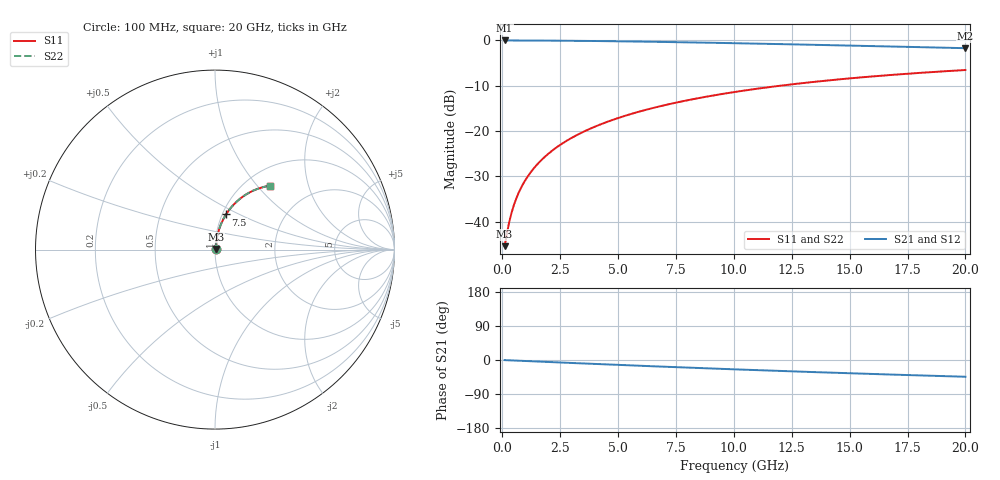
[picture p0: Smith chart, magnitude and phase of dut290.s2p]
! Touchstone file exported from HFSS 2024.1.0
!  File:  C:/UserFiles/LocalFiles/RDL_TSV_Batchsim/temp_RDL_top_290_1778690434.aedt
!  Generated:  12:42:32 AM May 14, 2026
!  Design:  RDL_top
!  Project:  temp_RDL_top_290_1778690434
!  Setup:  Setup1
!  Solution:  Sweep
! Variables:
!  dtsv = 10.80580581um
!  hbump = 3um
!  htsv = 55.9um
!  ldown = 100um
!  lrdl = 605.36um
!  p = 40
!  p1 = 44.33um
!  rhole = 1um
!  t = 450um
!  tdown = 3.915915916um
!  trdl = 3.95um
!  wdown = 15.38538539um
!  wrdl = 12.21um
# GHz S MA R 50.000000
! Terminal data exported
! Port[1] = Box2_T1
! Port[2] = Box2_T2
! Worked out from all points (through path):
!   200 points, 100 MHz to 20 GHz, reference 50 ohm
!   highest |S21| = -0.04 dB at 100 MHz (marker M1); lowest = -1.7 dB at 20 GHz (marker M2)
!   group delay of S21, straight-line fit = 6.13 ps
!   lowest |S11| = -45.4 dB at 100 MHz (marker M3), VSWR 1.01, Z = 50.5 + j0.295 ohm
!   |S11| at or under -10 dB: start of sweep to 12.04 GHz
!   |S22| runs from -45.4 to -6.6 dB; largest |S21 - S12| = 3.4e-15
!   S11 on the Smith chart (normalised r, x): 100 MHz: 1.01, +0.01; 7.5 GHz: 1.04, +0.43; 20 GHz: 1.28, +1.17
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0.1  0.005365 33.0  0.9955 -0.3  0.9955 -0.3  0.005365 33.0
! Gamma 0 0 0 0
! Port Impedance 50 0 50 0
0.2  0.007421 51.7  0.9954 -0.5  0.9954 -0.5  0.007421 51.7
0.3  0.0099 61.4  0.9953 -0.8  0.9953 -0.8  0.0099 61.4
0.4  0.01252 66.9  0.9951 -1.1  0.9951 -1.1  0.01252 66.9
0.5  0.0152 70.4  0.995 -1.3  0.995 -1.3  0.0152 70.4
0.6  0.0179 72.8  0.9948 -1.6  0.9948 -1.6  0.0179 72.8
0.8  0.02334 75.9  0.9944 -2.1  0.9944 -2.1  0.02334 75.9
1.1  0.03155 78.3  0.9938 -2.9  0.9938 -2.9  0.03156 78.3
1.5  0.04257 79.8  0.9929 -4.0  0.9929 -4.0  0.04257 79.8
1.8  0.05086 80.3  0.992 -4.7  0.992 -4.7  0.05086 80.3
2.1  0.05916 80.5  0.991 -5.5  0.991 -5.5  0.05916 80.5
2.7  0.07575 80.3  0.9886 -7.1  0.9886 -7.1  0.07575 80.3
3.5  0.09782 79.5  0.9845 -9.1  0.9845 -9.1  0.09781 79.5
4.2  0.117 78.5  0.9803 -10.9  0.9803 -10.9  0.117 78.5
5  0.1388 77.2  0.9748 -12.9  0.9748 -12.9  0.1388 77.2
5.9  0.163 75.6  0.9679 -15.1  0.9679 -15.1  0.163 75.6
6.8  0.1869 73.9  0.9602 -17.3  0.9602 -17.3  0.1869 73.9
7.5  0.2052 72.6  0.9539 -18.9  0.9539 -18.9  0.2052 72.6
10.1  0.2706 67.5  0.9281 -24.8  0.9281 -24.8  0.2706 67.5
13.4  0.3464 61.1  0.8922 -31.8  0.8922 -31.8  0.3464 61.1
16.7  0.413 55.0  0.855 -38.2  0.855 -38.2  0.4129 55.0
20  0.4699 49.3  0.8182 -44.2  0.8182 -44.2  0.4698 49.3
